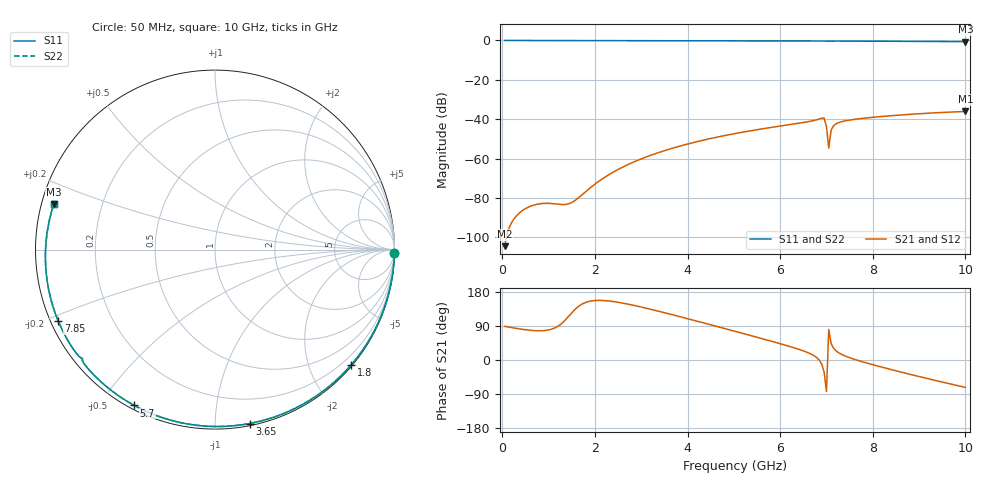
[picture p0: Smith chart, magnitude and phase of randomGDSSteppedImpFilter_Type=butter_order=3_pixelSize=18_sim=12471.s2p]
! freq	dB(S11)	phase(S11)	dB(S12)	phase(S12)
!  dB(S21)	phase(S21)	dB(S22)	phase(S22)
!S-par simulation data
#  GHz  S  DB  R 50
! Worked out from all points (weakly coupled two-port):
!   200 points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, 50 MHz to 10 GHz, reference 50 ohm
!   highest |S21| = -36.05 dB at 10 GHz (marker M1); lowest = -104.5 dB at 50 MHz (marker M2)
!   lowest |S11| = -0.6 dB at 10 GHz (marker M3), VSWR 28.82, Z = 1.77 + j6.93 ohm
!   |S11| at or under -10 dB: nowhere
!   |S22| runs from -0.6 to 0.0 dB; largest |S21 - S12| = 0
!   S11 on the Smith chart (normalised r, x): 50 MHz: open; 1.8 GHz: 0.02, -2.73; 3.65 GHz: 0.02, -1.22; 5.7 GHz: 0.02, -0.61; 7.85 GHz: 0.02, -0.22; 10 GHz: 0.04, +0.14
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0.05  -0.00 -1.1  -104.46 88.8  -104.46 88.8  -0.00 -1.1
0.8  -0.02 -18.1  -82.98 77.1  -82.98 77.1  -0.02 -18.1
1.6  -0.05 -35.9  -80.75 136.8  -80.75 136.8  -0.05 -35.9
1.75  -0.05 -39.2  -77.80 149.2  -77.80 149.2  -0.05 -39.2
1.8  -0.05 -40.3  -76.79 151.8  -76.79 151.8  -0.05 -40.3
2.15  -0.06 -47.8  -70.43 157.2  -70.43 157.2  -0.06 -47.8
2.5  -0.07 -55.2  -65.51 152.3  -65.51 152.3  -0.07 -55.2
3.4  -0.10 -73.7  -56.72 128.0  -56.72 128.0  -0.10 -73.7
3.65  -0.10 -78.7  -54.88 120.2  -54.88 120.2  -0.10 -78.7
5.05  -0.16 -105.5  -47.17 74.9  -47.17 74.9  -0.16 -105.5
5.7  -0.19 -117.4  -44.55 53.3  -44.55 53.3  -0.19 -117.4
6.7  -0.26 -135.4  -40.80 13.7  -40.80 13.7  -0.26 -135.4
6.95  -0.32 -140.1  -39.39 -32.6  -39.39 -32.6  -0.32 -140.1
7  -0.39 -140.7  -43.77 -82.9  -43.77 -82.9  -0.39 -140.7
7.05  -0.35 -141.1  -54.65 80.7  -54.65 80.7  -0.35 -141.1
7.1  -0.32 -142.1  -45.56 43.8  -45.56 43.8  -0.32 -142.1
7.2  -0.31 -143.9  -42.42 25.0  -42.42 25.0  -0.31 -143.9
7.4  -0.32 -147.5  -40.83 10.8  -40.83 10.8  -0.32 -147.5
7.85  -0.36 -155.6  -39.38 -7.3  -39.38 -7.3  -0.36 -155.6
8.35  -0.41 -164.6  -38.30 -23.8  -38.30 -23.8  -0.41 -164.6
9.2  -0.50 179.7  -36.93 -49.6  -36.93 -49.6  -0.50 179.7
10  -0.60 164.2  -36.05 -72.3  -36.05 -72.3  -0.60 164.2
